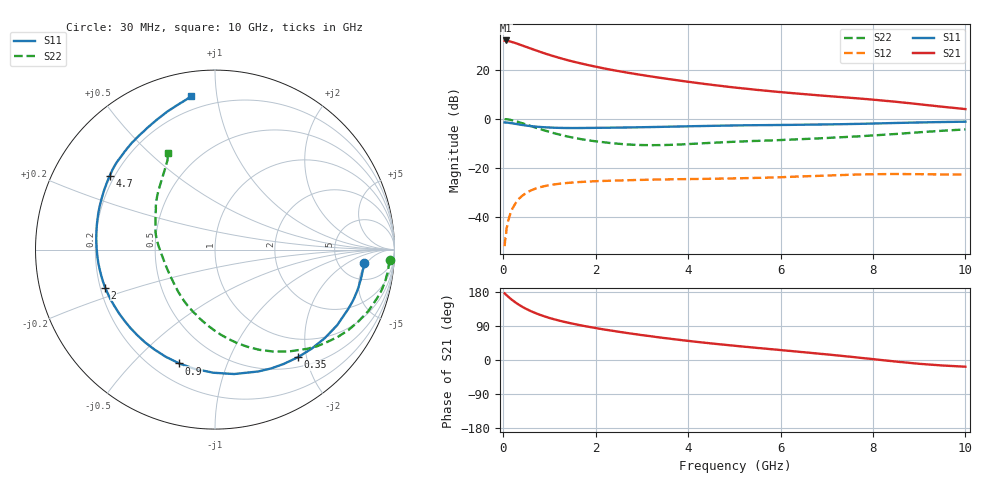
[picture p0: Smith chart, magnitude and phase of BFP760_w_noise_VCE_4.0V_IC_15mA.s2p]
! Infineon Technologies  Discrete & RF Semiconductors
! BFP760
! VCE =  4.0 V,  IC =  15 mA
! Common Emitter S-Parameters:  Nov 2012
# GHz  S  MA  R  50
!  f  S11  S21  S12  S22
! GHz  MAG  ANG  MAG  ANG  MAG  ANG  MAG  ANG
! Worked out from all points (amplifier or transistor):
!   99 points, 30 MHz to 10 GHz, reference 50 ohm
!   highest |S21| = 31.9 dB at 50 MHz (marker M1)
!   |S21| within 3 dB of that: start of sweep to 551.1 MHz
!   unconditionally stable (mu >= 1): 5.014 GHz to end of sweep
!   at 350 MHz: K = 0.20, MSG = 31.4 dB, |S12| = -32.5 dB
!   at 3.5 GHz: K = 0.80, MSG = 20.6 dB, |S12| = -24.8 dB
!   at 10 GHz: K = 1.11, MAG = 11.3 dB, |S12| = -22.8 dB
!   lowest NFmin = 0.56 dB at 900 MHz
!   S11 on the Smith chart (normalised r, x): 30 MHz: 9, -4; 350 MHz: 0.66, -1.85; 900 MHz: 0.30, -0.69; 2 GHz: 0.22, -0.16; 4.7 GHz: 0.18, +0.31; 10 GHz: 0.12, +0.85
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0.03  0.836 -5.0  38.92 176.0  0.0025 62.1  0.9756 -3.5
0.04  0.835 -6.5  38.86 175.1  0.0032 74.4  0.9738 -4.5
0.05  0.8312 -8.1  39.21 173.4  0.0037 84.5  0.9716 -5.4
0.15  0.8124 -24.1  37.37 162.7  0.0112 73.9  0.9434 -16.6
0.2  0.8005 -31.7  36.17 157.8  0.0147 70.0  0.9206 -21.8
0.25  0.7857 -38.9  35.04 153.2  0.0177 68.1  0.8937 -26.6
0.35  0.7569 -52.4  32.44 145.0  0.0236 62.1  0.839 -35.5
0.45  0.7323 -64.7  30.01 137.8  0.0283 57.1  0.7835 -43.4
0.6  0.7014 -81.3  26.72 128.8  0.0343 50.2  0.7021 -53.9
0.7  0.686 -90.8  24.73 123.7  0.0374 46.5  0.6546 -60.2
0.9  0.6648 -107.5  21.34 114.8  0.0421 40.3  0.5703 -71.6
1.1  0.651 -121.1  18.6 107.5  0.0454 35.6  0.5032 -81.5
1.3  0.6439 -132.5  16.41 101.3  0.0478 32.0  0.4507 -90.3
1.7  0.6424 -150.4  13.2 91.0  0.0511 27.0  0.3782 -106.0
2  0.6477 -160.9  11.46 84.4  0.0529 24.1  0.3441 -117.2
2.6  0.6573 -178.0  8.931 72.7  0.055 20.4  0.3008 -137.3
3.4  0.6776 164.6  6.774 59.3  0.0571 17.6  0.2881 -162.0
4.7  0.7164 144.9  4.651 41.3  0.0596 15.5  0.327 171.0
5.1  0.7267 140.9  4.215 36.5  0.0606 15.4  0.3402 165.8
6.7  0.7547 127.6  3.048 18.3  0.0673 14.4  0.39 148.0
8.5  0.8139 109.0  2.2 -4.2  0.0741 7.1  0.4856 128.0
10  0.8652 98.8  1.563 -17.7  0.0723 4.3  0.6013 115.9
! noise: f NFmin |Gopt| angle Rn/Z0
0.9  0.56  0.13  32  0.08
1.8  0.6  0.06  78  0.08
2.4  0.66  0.07  133  0.08
3.5  0.78  0.08  168  0.08
5.5  1.01  0.26  -130  0.08
8  1.36  0.39  -91  0.26
